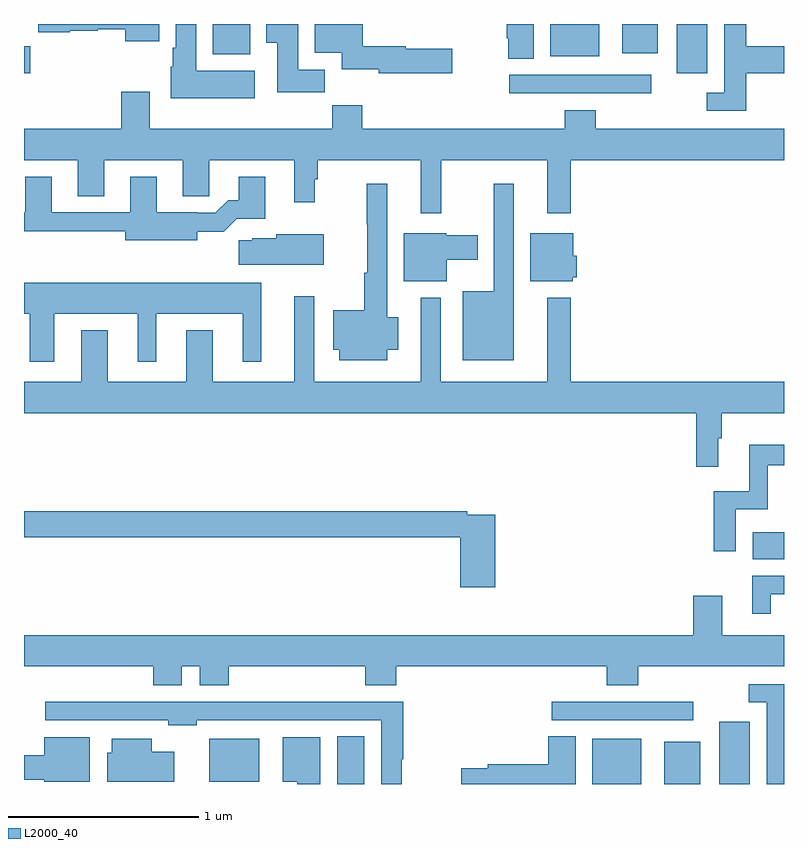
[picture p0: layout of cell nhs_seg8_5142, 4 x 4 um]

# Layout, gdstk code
import gdstk
lib = gdstk.Library(unit=1e-6, precision=1e-09)
def R(c, l, rs):  # rectangles x0, y0, x1, y1
    for r in rs: c.add(gdstk.rectangle(r[:2], r[2:], *l))
def P(c, l, *ps):  # polygons
    for p in ps: c.add(gdstk.Polygon(p, *l))
L2000_40 = (2000, 40)

nhs_seg8_5142 = lib.new_cell('nhs_seg8_5142')
R(nhs_seg8_5142, L2000_40, [(422.648,1095.9,422.791,1096.151), (423.992,1095.9,424.249,1096.138), (424.37,1095.9,424.558,1096.123), (424.658,1095.9,424.819,1096.228), (421.976,1095.911,422.239,1096.138), (423.777,1096.236,424.522,1096.332), (424.836,1097.084,425,1097.224), (423.555,1099.536,424.3,1099.632), (424.436,1099.641,424.597,1099.9), (421,1099.642,421.033,1099.784), (423.77,1099.73,424.027,1099.9), (421.994,1099.742,422.191,1099.9), (424.148,1099.745,424.336,1099.9)])
P(nhs_seg8_5142, L2000_40, [(424.802,1099.642),(425,1099.642),(425,1099.784),(424.802,1099.784),(424.802,1099.9),(424.686,1099.9),(424.686,1099.539),(424.593,1099.539),(424.593,1099.443),(424.802,1099.443)],
  [(422.215,1099.654),(421.906,1099.654),(421.906,1099.9),(421.799,1099.9),(421.799,1099.774),(421.784,1099.774),(421.784,1099.674),(421.772,1099.674),(421.772,1099.508),(422.215,1099.508)],
  [(423.253,1099.771),(423.009,1099.771),(423.009,1099.784),(422.782,1099.784),(422.782,1099.9),(422.531,1099.9),(422.531,1099.748),(422.672,1099.748),(422.672,1099.661),(422.868,1099.661),(422.868,1099.642),(423.253,1099.642)],
  [(422.582,1099.66),(422.443,1099.66),(422.443,1099.9),(422.276,1099.9),(422.276,1099.801),(422.333,1099.801),(422.333,1099.542),(422.582,1099.542)],
  [(423.682,1099.9),(423.541,1099.9),(423.541,1099.825),(423.548,1099.825),(423.548,1099.717),(423.682,1099.717)],
  [(421.711,1099.9),(421.076,1099.9),(421.076,1099.856),(421.242,1099.856),(421.242,1099.864),(421.389,1099.864),(421.389,1099.872),(421.532,1099.872),(421.532,1099.808),(421.711,1099.808)],
  [(423.196,1099.184),(423.755,1099.184),(423.755,1098.903),(423.877,1098.903),(423.877,1099.184),(425,1099.184),(425,1099.348),(424.01,1099.348),(424.01,1099.447),(423.845,1099.447),(423.845,1099.348),(422.78,1099.348),(422.78,1099.472),(422.623,1099.472),(422.623,1099.348),(421.663,1099.348),(421.663,1099.543),(421.511,1099.543),(421.511,1099.348),(421,1099.348),(421,1099.184),(421.283,1099.184),(421.283,1098.994),(421.423,1098.994),(421.423,1099.184),(421.835,1099.184),(421.835,1098.994),(421.974,1098.994),(421.974,1099.184),(422.423,1099.184),(422.423,1098.963),(422.53,1098.963),(422.53,1099.082),(422.545,1099.082),(422.545,1099.184),(423.089,1099.184),(423.089,1098.903),(423.196,1098.903)],
  [(421.912,1098.806),(422.051,1098.806),(422.121,1098.876),(422.269,1098.876),(422.269,1099.096),(422.129,1099.096),(422.129,1098.973),(422.074,1098.973),(422.007,1098.906),(421.913,1098.906),(421.913,1098.909),(421.699,1098.909),(421.699,1099.096),(421.559,1099.096),(421.559,1098.909),(421.147,1098.909),(421.147,1099.096),(421.007,1099.096),(421.007,1098.909),(421,1098.909),(421,1098.808),(421.532,1098.808),(421.532,1098.761),(421.912,1098.761)],
  [(423.577,1099.06),(423.473,1099.06),(423.473,1098.493),(423.308,1098.493),(423.308,1098.131),(423.577,1098.131)],
  [(422.911,1098.185),(422.971,1098.185),(422.971,1098.356),(422.911,1098.356),(422.911,1099.06),(422.805,1099.06),(422.805,1098.847),(422.807,1098.847),(422.807,1098.59),(422.79,1098.59),(422.79,1098.394),(422.627,1098.394),(422.627,1098.185),(422.66,1098.185),(422.66,1098.131),(422.911,1098.131)],
  [(423.888,1098.567),(423.91,1098.567),(423.91,1098.681),(423.892,1098.681),(423.892,1098.799),(423.665,1098.799),(423.665,1098.545),(423.888,1098.545)],
  [(423.226,1098.659),(423.388,1098.659),(423.388,1098.789),(423.222,1098.789),(423.222,1098.799),(422.999,1098.799),(422.999,1098.545),(423.226,1098.545)],
  [(422.578,1098.793),(422.328,1098.793),(422.328,1098.772),(422.202,1098.772),(422.202,1098.761),(422.13,1098.761),(422.13,1098.632),(422.578,1098.632)],
  [(421.159,1098.374),(421.598,1098.374),(421.598,1098.123),(421.696,1098.123),(421.696,1098.374),(422.15,1098.374),(422.15,1098.123),(422.248,1098.123),(422.248,1098.538),(421,1098.538),(421,1098.374),(421.031,1098.374),(421.031,1098.123),(421.159,1098.123)],
  [(424.654,1097.72),(424.673,1097.72),(424.673,1097.852),(425,1097.852),(425,1098.016),(423.877,1098.016),(423.877,1098.46),(423.755,1098.46),(423.755,1098.016),(423.193,1098.016),(423.193,1098.46),(423.089,1098.46),(423.089,1098.016),(422.527,1098.016),(422.527,1098.466),(422.423,1098.466),(422.423,1098.016),(421.993,1098.016),(421.993,1098.289),(421.853,1098.289),(421.853,1098.016),(421.441,1098.016),(421.441,1098.289),(421.301,1098.289),(421.301,1098.016),(421,1098.016),(421,1097.852),(424.537,1097.852),(424.537,1097.571),(424.654,1097.571)],
  [(424.746,1097.346),(424.915,1097.346),(424.915,1097.577),(425,1097.577),(425,1097.686),(424.817,1097.686),(424.817,1097.442),(424.63,1097.442),(424.63,1097.124),(424.746,1097.124)],
  [(423.479,1097.316),(423.332,1097.316),(423.332,1097.336),(421,1097.336),(421,1097.2),(423.296,1097.2),(423.296,1096.935),(423.479,1096.935)],
  [(424.93,1096.899),(425,1096.899),(425,1096.995),(424.832,1096.995),(424.832,1096.797),(424.93,1096.797)],
  [(421.831,1096.52),(421.925,1096.52),(421.925,1096.421),(422.078,1096.421),(422.078,1096.52),(422.795,1096.52),(422.795,1096.421),(422.96,1096.421),(422.96,1096.52),(424.067,1096.52),(424.067,1096.421),(424.232,1096.421),(424.232,1096.52),(425,1096.52),(425,1096.684),(424.675,1096.684),(424.675,1096.891),(424.523,1096.891),(424.523,1096.684),(421,1096.684),(421,1096.52),(421.679,1096.52),(421.679,1096.421),(421.831,1096.421)],
  [(425,1096.425),(424.815,1096.425),(424.815,1096.329),(424.908,1096.329),(424.908,1095.9),(425,1095.9)],
  [(422.989,1096.029),(422.996,1096.029),(422.996,1096.332),(422.711,1096.332),(422.711,1096.334),(422.161,1096.334),(422.161,1096.332),(421.658,1096.332),(421.658,1096.334),(421.113,1096.334),(421.113,1096.236),(421.758,1096.236),(421.758,1096.208),(421.908,1096.208),(421.908,1096.236),(422.88,1096.236),(422.88,1095.9),(422.989,1095.9)],
  [(423.904,1096.151),(423.758,1096.151),(423.758,1096.004),(423.442,1096.004),(423.442,1095.984),(423.301,1095.984),(423.301,1095.9),(423.904,1095.9)],
  [(421.345,1096.147),(421.106,1096.147),(421.106,1096.051),(421,1096.051),(421,1095.922),(421.106,1095.922),(421.106,1095.911),(421.345,1095.911)],
  [(422.56,1096.147),(422.363,1096.147),(422.363,1095.911),(422.438,1095.911),(422.438,1095.9),(422.56,1095.9)],
  [(421.792,1096.069),(421.672,1096.069),(421.672,1096.138),(421.463,1096.138),(421.463,1096.065),(421.439,1096.065),(421.439,1095.911),(421.792,1095.911)])

lib.write_gds('nhs_seg8_5142.gds')
